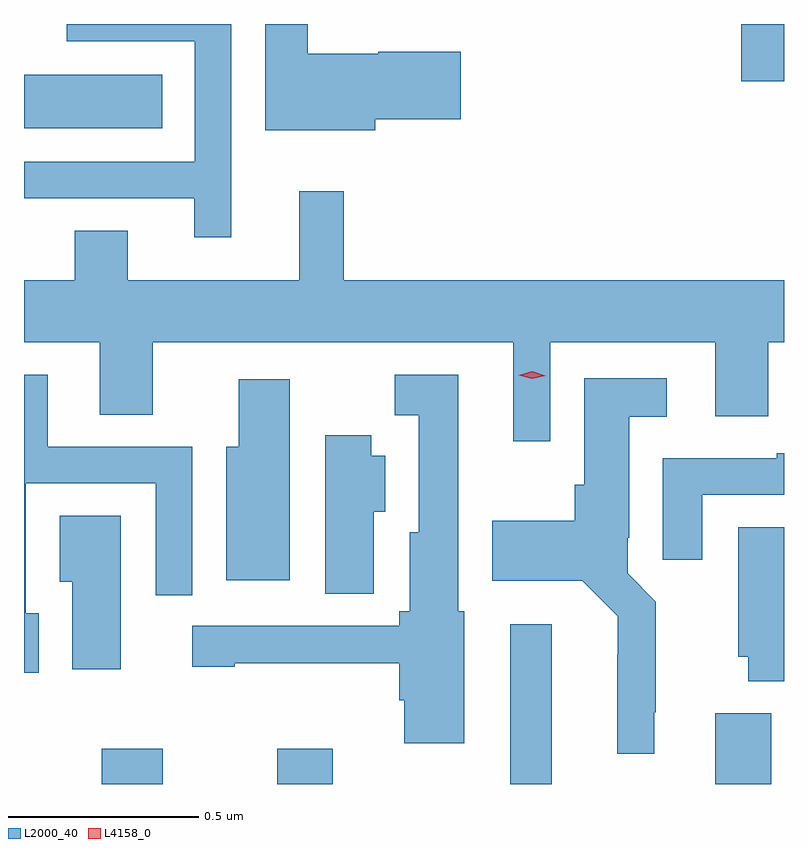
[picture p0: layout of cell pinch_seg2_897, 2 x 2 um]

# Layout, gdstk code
import gdstk
lib = gdstk.Library(unit=1e-6, precision=1e-09)
def R(c, l, rs):  # rectangles x0, y0, x1, y1
    for r in rs: c.add(gdstk.rectangle(r[:2], r[2:], *l))
def P(c, l, *ps):  # polygons
    for p in ps: c.add(gdstk.Polygon(p, *l))
L2000_40 = (2000, 40)
L4158_0 = (4158, 0)

pinch_seg2_897 = lib.new_cell('pinch_seg2_897')
R(pinch_seg2_897, L2000_40, [(497.549,583.87,497.709,583.963), (498.01,583.87,498.157,583.963), (498.623,583.87,498.733,584.29), (499.163,583.87,499.311,584.056), (497.344,585.596,497.708,585.736), (499.232,585.719,499.344,585.87)])
P(pinch_seg2_897, L2000_40, [(497.889,585.87),(497.456,585.87),(497.456,585.824),(497.793,585.824),(497.793,585.507),(497.344,585.507),(497.344,585.411),(497.792,585.411),(497.792,585.309),(497.889,585.309)],
  [(498.268,585.619),(498.493,585.619),(498.493,585.797),(498.276,585.797),(498.276,585.792),(498.091,585.792),(498.091,585.87),(497.979,585.87),(497.979,585.59),(498.268,585.59)],
  [(498.729,585.032),(499.163,585.032),(499.163,584.838),(499.303,584.838),(499.303,585.032),(499.344,585.032),(499.344,585.196),(498.185,585.196),(498.185,585.43),(498.068,585.43),(498.068,585.196),(497.617,585.196),(497.617,585.326),(497.477,585.326),(497.477,585.196),(497.344,585.196),(497.344,585.032),(497.543,585.032),(497.543,584.842),(497.683,584.842),(497.683,585.032),(498.632,585.032),(498.632,584.772),(498.729,584.772)],
  [(498.502,584.325),(498.487,584.325),(498.487,584.947),(498.32,584.947),(498.32,584.84),(498.383,584.84),(498.383,584.532),(498.359,584.532),(498.359,584.325),(498.332,584.325),(498.332,584.286),(497.787,584.286),(497.787,584.178),(497.899,584.178),(497.899,584.188),(498.332,584.188),(498.332,584.091),(498.344,584.091),(498.344,583.977),(498.502,583.977)],
  [(497.383,584.319),(497.349,584.319),(497.349,584.661),(497.691,584.661),(497.691,584.367),(497.787,584.367),(497.787,584.757),(497.407,584.757),(497.407,584.947),(497.344,584.947),(497.344,584.163),(497.383,584.163)],
  [(499.003,584.059),(499.007,584.059),(499.007,584.35),(498.933,584.424),(498.933,584.518),(498.937,584.518),(498.937,584.837),(499.036,584.837),(499.036,584.938),(498.818,584.938),(498.818,584.658),(498.793,584.658),(498.793,584.563),(498.576,584.563),(498.576,584.405),(498.813,584.405),(498.906,584.312),(498.906,584.21),(498.905,584.21),(498.905,583.949),(499.003,583.949)],
  [(498.043,584.935),(497.909,584.935),(497.909,584.758),(497.876,584.758),(497.876,584.406),(498.043,584.406)],
  [(498.265,584.587),(498.295,584.587),(498.295,584.734),(498.258,584.734),(498.258,584.788),(498.137,584.788),(498.137,584.371),(498.265,584.371)],
  [(499.129,584.631),(499.344,584.631),(499.344,584.74),(499.325,584.74),(499.325,584.727),(499.025,584.727),(499.025,584.46),(499.129,584.46)],
  [(497.599,584.576),(497.438,584.576),(497.438,584.402),(497.471,584.402),(497.471,584.172),(497.599,584.172)],
  [(499.344,584.546),(499.223,584.546),(499.223,584.205),(499.25,584.205),(499.25,584.141),(499.344,584.141)])
P(pinch_seg2_897, L4158_0, [(498.681,584.936),(498.646,584.946),(498.646,584.946),(498.646,584.946),(498.681,584.956),(498.716,584.945),(498.717,584.945),(498.716,584.945)])

lib.write_gds('pinch_seg2_897.gds')
